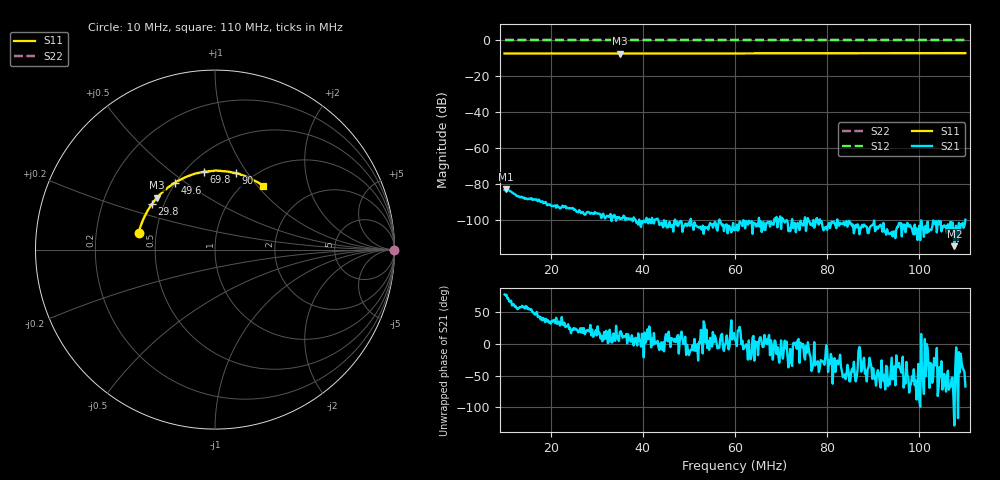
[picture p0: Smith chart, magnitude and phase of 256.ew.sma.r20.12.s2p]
! Anritsu VNA Master:  Model: MS2036C/10/77
! SN:  1601066
! /card0/usr/256.ew.sma.r20.12.s2p
! Existing Calibration Information:
! TYPE:  Current Settings,  Active Cal Settings
! TIME:  12/19/2017 02:32:55 PM,  12/19/2017 02:22:10 PM
! INTERNAL TEMP:  46.0 C,  45.0 C
! # POINTS:  501,  501
! START FREQ:  10.000 MHz,  10.000 MHz
! STOP FREQ:  110.000 MHz,  110.000 MHz
! SOURCE POWER:  High,  High
! IFBW:  100 Hz,  100 Hz
! AVG FACTOR:  1 ,  1
! REF PLANE 1:  0 mm,  0 mm
! REF PLANE 2:  0 mm,  0 mm
! CAL TYPE:  Full S11,  Full S11
! CAL METHOD:  SOLT,  SOLT
! CAL LINE TYPE:  Coax,  Coax
! DUT PORT 1:  N-Conn(F),  N-Conn(F)
! DUT PORT 2:  K-Conn(F),  K-Conn(F)
! CAL STATUS:  OK: Accuracy High,  --
# GHZ S RI R 50.0
! FREQ.GHZ  S11RE  S11IM  S21RE  S21IM  S12RE  S12IM  S22RE  S22IM
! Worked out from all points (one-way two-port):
!   501 points, 10 MHz to 110 MHz, reference 50 ohm
!   highest |S21| = -82.51 dB at 10.2 MHz (marker M1); lowest = -114.3 dB at 107.6 MHz (marker M2)
!   lowest |S11| = -7.3 dB at 35 MHz (marker M3), VSWR 2.52, Z = 22.2 + j15.8 ohm
!   |S11| at or under -10 dB: nowhere
!   |S22| runs from 0.0 to 0.0 dB; largest |S21 - S12| = 1
!   S11 on the Smith chart (normalised r, x): 10 MHz: 0.40, +0.09; 29.8 MHz: 0.43, +0.27; 49.6 MHz: 0.50, +0.45; 69.8 MHz: 0.61, +0.66; 90 MHz: 0.83, +0.88; 110 MHz: 1.22, +1.07
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0.01  -0.4259 0.092  1.48e-05 6.88e-05  1 0  1 0
0.0102  -0.4261 0.0936  1.74e-05 7.28e-05  1 0  1 0
0.0178  -0.4037 0.1594  2.55e-05 2.05e-05  1 0  1 0
0.0268  -0.3662 0.2308  1.56e-05 7.27e-06  1 0  1 0
0.0298  -0.3527 0.2526  1.47e-05 5.9e-06  1 0  1 0
0.035  -0.3222 0.2887  1.05e-05 3.48e-06  1 0  1 0
0.0404  -0.2893 0.3246  9.4e-06 3.05e-06  1 0  1 0
0.0434  -0.2687 0.3411  9.66e-06 -9.36e-07  1 0  1 0
0.0496  -0.2241 0.372  7.02e-06 -1.59e-07  1 0  1 0
0.055  -0.1824 0.3957  7.95e-06 -5.66e-07  1 0  1 0
0.06  -0.1425 0.4119  5.87e-06 7.47e-07  1 0  1 0
0.0628  -0.1193 0.4207  6.95e-06 -3.17e-06  1 0  1 0
0.0698  -0.0604 0.4345  1.25e-05 -3.59e-06  1 0  1 0
0.075  -0.0144 0.4379  8.65e-06 -2.96e-06  1 0  1 0
0.0768  0.00137 0.4402  5.6e-06 -4.36e-06  1 0  1 0
0.0792  0.0201 0.4389  4.66e-06 -2.57e-06  1 0  1 0
0.085  0.0722 0.4349  4.21e-06 -7e-06  1 0  1 0
0.09  0.1148 0.426  5.86e-06 -4.64e-06  1 0  1 0
0.0934  0.1414 0.4187  2.38e-06 -3.46e-06  1 0  1 0
0.0996  0.1931 0.3997  1.07e-06 -2.66e-06  1 0  1 0
0.1076  0.2526 0.3659  -1.2e-06 -1.51e-06  1 0  1 0
0.11  0.2701 0.3528  4.1e-06 -9.66e-06  1 0  1 0
